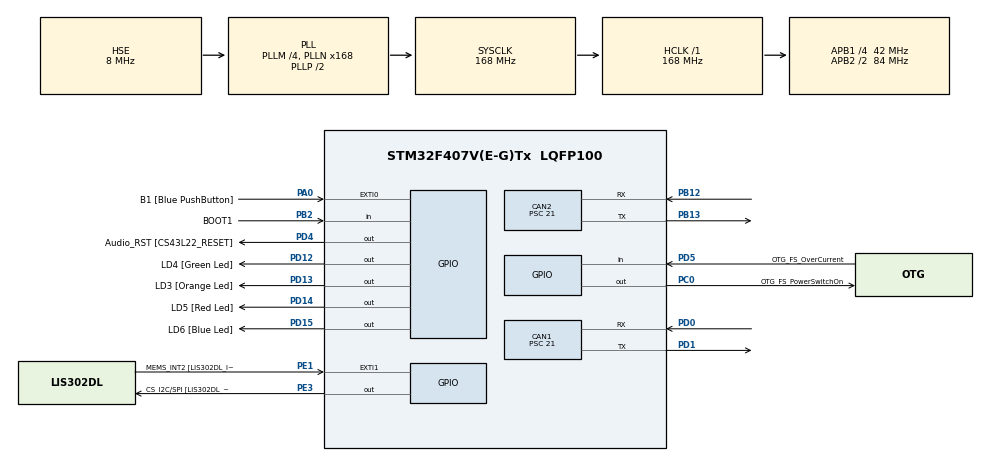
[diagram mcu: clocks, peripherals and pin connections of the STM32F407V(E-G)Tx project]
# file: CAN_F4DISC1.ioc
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CAN1.BS1=CAN_BS1_2TQ
CAN1.CalculateBaudRate=500000
CAN1.CalculateTimeBit=2000
CAN1.CalculateTimeQuantum=500.0
CAN1.Prescaler=21
CAN2.BS1=CAN_BS1_2TQ
CAN2.CalculateBaudRate=500000
CAN2.CalculateTimeBit=2000
CAN2.CalculateTimeQuantum=500.0
CAN2.Prescaler=21
Mcu.Family=STM32F4
Mcu.Name=STM32F407V(E-G)Tx
Mcu.Package=LQFP100
NVIC.CAN1_RX0_IRQn=true\:0\:0\:false\:false\:true\:true\:true\:true
NVIC.CAN2_RX0_IRQn=true\:0\:0\:false\:false\:true\:true\:true\:true
NVIC.PriorityGroup=NVIC_PRIORITYGROUP_0
PA0-WKUP.GPIO_Label=B1 [Blue PushButton]
PA0-WKUP.Signal=GPXTI0
PA10.GPIO_Label=OTG_FS_ID
PA10.GPIO_Mode=GPIO_MODE_AF_PP
PA10.GPIO_PuPd=GPIO_NOPULL
PA10.GPIO_Speed=GPIO_SPEED_FREQ_LOW
PA10.Signal=USB_OTG_FS_ID
PA11.GPIO_Label=OTG_FS_DM
PA11.GPIO_Mode=GPIO_MODE_AF_PP
PA11.GPIO_PuPd=GPIO_NOPULL
PA11.GPIO_Speed=GPIO_SPEED_FREQ_LOW
PA11.Signal=USB_OTG_FS_DM
PA12.GPIO_Label=OTG_FS_DP
PA12.GPIO_Mode=GPIO_MODE_AF_PP
PA12.GPIO_PuPd=GPIO_NOPULL
PA12.GPIO_Speed=GPIO_SPEED_FREQ_LOW
PA12.Signal=USB_OTG_FS_DP
PA13.GPIO_Label=SWDIO
PA13.Signal=SYS_JTMS-SWDIO
PA14.GPIO_Label=SWCLK
PA14.Signal=SYS_JTCK-SWCLK
PA4.GPIO_Label=I2S3_WS [CS43L22_LRCK]
PA4.GPIO_Mode=GPIO_MODE_AF_PP
PA4.GPIO_PuPd=GPIO_NOPULL
PA4.GPIO_Speed=GPIO_SPEED_FREQ_LOW
PA4.Signal=I2S3_WS
PA5.GPIO_Label=SPI1_SCK [LIS302DL_SCL/SPC]
PA5.GPIO_Mode=GPIO_MODE_AF_PP
PA5.GPIO_PuPd=GPIO_NOPULL
PA5.GPIO_Speed=GPIO_SPEED_FREQ_LOW
PA5.Signal=SPI1_SCK
PA6.GPIO_Label=SPI1_MISO [LIS302DL_SDO]
PA6.GPIO_Mode=GPIO_MODE_AF_PP
PA6.GPIO_PuPd=GPIO_NOPULL
PA6.GPIO_Speed=GPIO_SPEED_FREQ_LOW
PA6.Signal=SPI1_MISO
PA7.GPIO_Label=SPI1_MOSI [LIS302DL_SDA/SDI/SDO]
PA7.GPIO_Mode=GPIO_MODE_AF_PP
PA7.GPIO_PuPd=GPIO_NOPULL
PA7.GPIO_Speed=GPIO_SPEED_FREQ_LOW
PA7.Signal=SPI1_MOSI
PA9.GPIO_Label=VBUS_FS
PA9.GPIO_Mode=GPIO_MODE_INPUT
PA9.GPIO_PuPd=GPIO_NOPULL
PA9.Signal=USB_OTG_FS_VBUS
PB10.GPIO_Label=CLK_IN [MP45DT02_CLK]
PB10.GPIO_Mode=GPIO_MODE_AF_PP
PB10.GPIO_PuPd=GPIO_NOPULL
PB10.GPIO_Speed=GPIO_SPEED_FREQ_LOW
PB10.Signal=I2S2_CK
PB12.GPIO_PuPd=GPIO_PULLUP
PB12.Mode=CAN_Activate
PB12.Signal=CAN2_RX
PB13.Mode=CAN_Activate
PB13.Signal=CAN2_TX
PB2.GPIO_Label=BOOT1
PB2.GPIO_Mode=GPIO_MODE_INPUT
PB2.GPIO_PuPd=GPIO_NOPULL
PB2.Signal=GPIO_Input
PB3.GPIO_Label=SWO
PB3.Signal=SYS_JTDO-SWO
PB6.GPIO_Label=Audio_SCL [CS43L22_SCL]
PB6.GPIO_Mode=GPIO_MODE_AF_OD
PB6.GPIO_PuPd=GPIO_NOPULL
PB6.GPIO_Speed=GPIO_SPEED_FREQ_LOW
PB6.Signal=I2C1_SCL
PB9.GPIO_Label=Audio_SDA [CS43L22_SDA]
PB9.GPIO_Mode=GPIO_MODE_AF_OD
PB9.GPIO_PuPd=GPIO_NOPULL
PB9.GPIO_Speed=GPIO_SPEED_FREQ_LOW
PB9.Signal=I2C1_SDA
PC0.GPIO_Label=OTG_FS_PowerSwitchOn
PC0.GPIO_PuPd=GPIO_NOPULL
PC0.GPIO_Speed=GPIO_SPEED_FREQ_LOW
PC0.PinState=GPIO_PIN_SET
PC0.Signal=GPIO_Output
PC10.GPIO_Label=I2S3_SCK [CS43L22_SCLK]
PC10.GPIO_Mode=GPIO_MODE_AF_PP
PC10.GPIO_PuPd=GPIO_NOPULL
PC10.GPIO_Speed=GPIO_SPEED_FREQ_LOW
PC10.Signal=I2S3_CK
PC12.GPIO_Label=I2S3_SD [CS43L22_SDIN]
PC12.GPIO_Mode=GPIO_MODE_AF_PP
PC12.GPIO_PuPd=GPIO_NOPULL
PC12.GPIO_Speed=GPIO_SPEED_FREQ_LOW
PC12.Signal=I2S3_SD
PC14-OSC32_IN.GPIO_Label=PC14-OSC32_IN
PC14-OSC32_IN.Signal=RCC_OSC32_IN
PC15-OSC32_OUT.GPIO_Label=PC15-OSC32_OUT
PC15-OSC32_OUT.Signal=RCC_OSC32_OUT
PC3.GPIO_Label=PDM_OUT [MP45DT02_DOUT]
PC3.GPIO_Mode=GPIO_MODE_AF_PP
PC3.GPIO_PuPd=GPIO_NOPULL
PC3.GPIO_Speed=GPIO_SPEED_FREQ_LOW
PC3.Signal=I2S2_SD
PC7.GPIO_Label=I2S3_MCK [CS43L22_MCLK]
PC7.GPIO_Mode=GPIO_MODE_AF_PP
PC7.GPIO_PuPd=GPIO_NOPULL
PC7.GPIO_Speed=GPIO_SPEED_FREQ_LOW
PC7.Signal=I2S3_MCK
PD0.GPIO_PuPd=GPIO_PULLUP
PD0.Mode=CAN_Activate
PD0.Signal=CAN1_RX
PD1.Mode=CAN_Activate
PD1.Signal=CAN1_TX
PD12.GPIO_Label=LD4 [Green Led]
PD12.GPIO_PuPd=GPIO_NOPULL
PD12.GPIO_Speed=GPIO_SPEED_FREQ_LOW
PD12.Signal=GPIO_Output
PD13.GPIO_Label=LD3 [Orange Led]
PD13.GPIO_PuPd=GPIO_NOPULL
PD13.GPIO_Speed=GPIO_SPEED_FREQ_LOW
PD13.Signal=GPIO_Output
PD14.GPIO_Label=LD5 [Red Led]
PD14.GPIO_PuPd=GPIO_NOPULL
PD14.GPIO_Speed=GPIO_SPEED_FREQ_LOW
PD14.Signal=GPIO_Output
PD15.GPIO_Label=LD6 [Blue Led]
PD15.GPIO_PuPd=GPIO_NOPULL
PD15.GPIO_Speed=GPIO_SPEED_FREQ_LOW
PD15.Signal=GPIO_Output
PD4.GPIO_Label=Audio_RST [CS43L22_RESET]
PD4.GPIO_PuPd=GPIO_NOPULL
PD4.GPIO_Speed=GPIO_SPEED_FREQ_LOW
PD4.Signal=GPIO_Output
PD5.GPIO_Label=OTG_FS_OverCurrent
PD5.GPIO_Mode=GPIO_MODE_INPUT
PD5.GPIO_PuPd=GPIO_NOPULL
PD5.Signal=GPIO_Input
PE1.GPIO_Label=MEMS_INT2 [LIS302DL_INT2]
PE1.GPIO_ModeDefaultEXTI=GPIO_MODE_EVT_RISING
PE1.GPIO_PuPd=GPIO_NOPULL
PE1.Signal=GPXTI1
PE3.GPIO_Label=CS_I2C/SPI [LIS302DL_CS_I2C/SPI]
PE3.GPIO_PuPd=GPIO_NOPULL
PE3.GPIO_Speed=GPIO_SPEED_FREQ_LOW
PE3.Signal=GPIO_Output
PH0-OSC_IN.GPIO_Label=PH0-OSC_IN
PH0-OSC_IN.Mode=HSE-External-Oscillator
PH0-OSC_IN.Signal=RCC_OSC_IN
PH1-OSC_OUT.GPIO_Label=PH1-OSC_OUT
PH1-OSC_OUT.Mode=HSE-External-Oscillator
PH1-OSC_OUT.Signal=RCC_OSC_OUT
ProjectManager.HeapSize=0x200
ProjectManager.StackSize=0x400
ProjectManager.TargetToolchain=STM32CubeIDE
RCC.48MHZClocksFreq_Value=48000000
RCC.AHBFreq_Value=168000000
RCC.APB1CLKDivider=RCC_HCLK_DIV4
RCC.APB1Freq_Value=42000000
RCC.APB1TimFreq_Value=84000000
RCC.APB2CLKDivider=RCC_HCLK_DIV2
RCC.APB2Freq_Value=84000000
RCC.APB2TimFreq_Value=168000000
RCC.CortexFreq_Value=168000000
RCC.HCLKFreq_Value=168000000
RCC.HSE_VALUE=8000000
RCC.HSI_VALUE=16000000
RCC.LSE_VALUE=32768
RCC.PLLM=4
RCC.PLLN=168
RCC.PLLQ=7
RCC.PLLSourceVirtual=RCC_PLLSOURCE_HSE
RCC.SYSCLKFreq_VALUE=168000000
RCC.SYSCLKSource=RCC_SYSCLKSOURCE_PLLCLK
RCC.VCOOutputFreq_Value=336000000
board=STM32F407G-DISC1

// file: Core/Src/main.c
/* USER CODE BEGIN Header */
/**
  ******************************************************************************
  * @file           : main.c
  * @brief          : Main program body
  ******************************************************************************
  * @attention
  *
  * Copyright (c) 2024 STMicroelectronics.
  * All rights reserved.
  *
  * This software is licensed under terms that can be found in the LICENSE file
  * in the root directory of this software component.
  * If no LICENSE file comes with this software, it is provided AS-IS.
  *
  ******************************************************************************
  */
/* USER CODE END Header */
#include "main.h"

CAN_HandleTypeDef hcan1;
CAN_HandleTypeDef hcan2;

void SystemClock_Config(void);
static void MX_GPIO_Init(void);
static void MX_CAN1_Init(void);
static void MX_CAN2_Init(void);
static void CAN1_filterconfig();
static void CAN2_filterconfig();

/* USER CODE BEGIN 0 */
CAN_TxHeaderTypeDef CAN1_TxHeader;
CAN_RxHeaderTypeDef CAN1_RxHeader;
CAN_TxHeaderTypeDef CAN2_TxHeader;
CAN_RxHeaderTypeDef CAN2_RxHeader;

uint8_t CAN1_Tx_data[8];
uint8_t CAN1_Rx_data[8];
uint8_t CAN2_Tx_data[8];
uint8_t CAN2_Rx_data[8];

uint32_t CAN1_TxMailBox;
uint32_t CAN2_TxMailBox;

int datacheck1 = 0;
int datacheck2 = 0;

void HAL_CAN_RxFifo0MsgPendingCallback(CAN_HandleTypeDef *hcan1)
{
	HAL_CAN_GetRxMessage(hcan1, CAN_RX_FIFO0, &CAN1_RxHeader, CAN1_Rx_data);
}

void HAL_CAN_RxFifo1MsgPendingCallback(CAN_HandleTypeDef *hcan2)
{
	HAL_CAN_GetRxMessage(hcan2, CAN_RX_FIFO0, &CAN2_RxHeader, CAN2_Rx_data);
}
/* USER CODE END 0 */

int main(void)
{

  /* MCU Configuration--------------------------------------------------------*/

  /* Reset of all peripherals, Initializes the Flash interface and the Systick. */
  HAL_Init();

  /* Configure the system clock */
  SystemClock_Config();

  /* Initialize all configured peripherals */
  MX_GPIO_Init();
  MX_CAN1_Init();
  MX_CAN2_Init();
  /* USER CODE BEGIN 2 */

  HAL_CAN_Start(&hcan1);
  HAL_CAN_Start(&hcan2);

  //Activate notification

  HAL_CAN_ActivateNotification(&hcan1, CAN_IT_RX_FIFO0_MSG_PENDING);
  HAL_CAN_ActivateNotification(&hcan2, CAN_IT_RX_FIFO0_MSG_PENDING);

  //config ID
  CAN1_TxHeader.DLC = 2;
  CAN1_TxHeader.IDE = CAN_ID_STD;
  CAN1_TxHeader.RTR = CAN_RTR_DATA;
  CAN1_TxHeader.StdId = 0x00;

  CAN2_TxHeader.DLC = 2;
  CAN2_TxHeader.IDE = CAN_ID_STD;
  CAN2_TxHeader.RTR = CAN_RTR_DATA;
  CAN2_TxHeader.StdId = 0x00;

  /* USER CODE END 2 */

  /* Infinite loop */
  while (1)
  {

  }
}
//called in MX_CAN_INIT
void CAN1_filterconfig()
{
	  CAN_FilterTypeDef canfilterconfig1;

	  canfilterconfig1.FilterActivation = CAN_FILTER_ENABLE;
	  canfilterconfig1.FilterBank = 18;  // which filter bank to use from the assigned ones
	  canfilterconfig1.FilterFIFOAssignment = CAN_FILTER_FIFO0;
	  canfilterconfig1.FilterIdHigh = 0x103<<5;
	  canfilterconfig1.FilterIdLow = 0;
	  canfilterconfig1.FilterMaskIdHigh = 0x103<<5;
	  canfilterconfig1.FilterMaskIdLow = 0x0000;
	  canfilterconfig1.FilterMode = CAN_FILTERMODE_IDMASK;
	  canfilterconfig1.FilterScale = CAN_FILTERSCALE_32BIT;
	  canfilterconfig1.SlaveStartFilterBank = 20;  // how many filters to assign to the CAN1 (master can)

	  HAL_CAN_ConfigFilter(&hcan1, &canfilterconfig1);
}

void CAN2_filterconfig()
{
	  CAN_FilterTypeDef canfilterconfig2;

	  canfilterconfig2.FilterActivation = CAN_FILTER_ENABLE;
	  canfilterconfig2.FilterBank = 10;  // which filter bank to use from the assigned ones
	  canfilterconfig2.FilterFIFOAssignment = CAN_FILTER_FIFO0;
	  canfilterconfig2.FilterIdHigh = 0x446<<5;
	  canfilterconfig2.FilterIdLow = 0;
	  canfilterconfig2.FilterMaskIdHigh = 0x446<<5;
	  canfilterconfig2.FilterMaskIdLow = 0x0000;
	  canfilterconfig2.FilterMode = CAN_FILTERMODE_IDMASK;
	  canfilterconfig2.FilterScale = CAN_FILTERSCALE_32BIT;
	  canfilterconfig2.SlaveStartFilterBank = 0;

	  HAL_CAN_ConfigFilter(&hcan2, &canfilterconfig2);
}

void SystemClock_Config(void)
{
  RCC_OscInitTypeDef RCC_OscInitStruct = {0};
  RCC_ClkInitTypeDef RCC_ClkInitStruct = {0};

  /** Configure the main internal regulator output voltage
  */
  __HAL_RCC_PWR_CLK_ENABLE();
  __HAL_PWR_VOLTAGESCALING_CONFIG(PWR_REGULATOR_VOLTAGE_SCALE1);

  /** Initializes the RCC Oscillators according to the specified parameters
  * in the RCC_OscInitTypeDef structure.
  */
  RCC_OscInitStruct.OscillatorType = RCC_OSCILLATORTYPE_HSE;
  RCC_OscInitStruct.HSEState = RCC_HSE_ON;
  RCC_OscInitStruct.PLL.PLLState = RCC_PLL_ON;
  RCC_OscInitStruct.PLL.PLLSource = RCC_PLLSOURCE_HSE;
  RCC_OscInitStruct.PLL.PLLM = 4;
  RCC_OscInitStruct.PLL.PLLN = 168;
  RCC_OscInitStruct.PLL.PLLP = RCC_PLLP_DIV2;
  RCC_OscInitStruct.PLL.PLLQ = 7;
  if (HAL_RCC_OscConfig(&RCC_OscInitStruct) != HAL_OK)
  {
    Error_Handler();
  }

  /** Initializes the CPU, AHB and APB buses clocks
  */
  RCC_ClkInitStruct.ClockType = RCC_CLOCKTYPE_HCLK|RCC_CLOCKTYPE_SYSCLK
                              |RCC_CLOCKTYPE_PCLK1|RCC_CLOCKTYPE_PCLK2;
  RCC_ClkInitStruct.SYSCLKSource = RCC_SYSCLKSOURCE_PLLCLK;
  RCC_ClkInitStruct.AHBCLKDivider = RCC_SYSCLK_DIV1;
  RCC_ClkInitStruct.APB1CLKDivider = RCC_HCLK_DIV4;
  RCC_ClkInitStruct.APB2CLKDivider = RCC_HCLK_DIV2;

  if (HAL_RCC_ClockConfig(&RCC_ClkInitStruct, FLASH_LATENCY_5) != HAL_OK)
  {
    Error_Handler();
  }
}

static void MX_CAN1_Init(void)
{

  hcan1.Instance = CAN1;
  hcan1.Init.Prescaler = 21;
  hcan1.Init.Mode = CAN_MODE_NORMAL;
  hcan1.Init.SyncJumpWidth = CAN_SJW_1TQ;
  hcan1.Init.TimeSeg1 = CAN_BS1_2TQ;
  hcan1.Init.TimeSeg2 = CAN_BS2_1TQ;
  hcan1.Init.TimeTriggeredMode = DISABLE;
  hcan1.Init.AutoBusOff = DISABLE;
  hcan1.Init.AutoWakeUp = DISABLE;
  hcan1.Init.AutoRetransmission = DISABLE;
  hcan1.Init.ReceiveFifoLocked = DISABLE;
  hcan1.Init.TransmitFifoPriority = DISABLE;
  if (HAL_CAN_Init(&hcan1) != HAL_OK)
  {
    Error_Handler();
  }
  /* USER CODE BEGIN CAN1_Init 2 */
  CAN1_filterconfig();
  /* USER CODE END CAN1_Init 2 */

}

static void MX_CAN2_Init(void)
{

  hcan2.Instance = CAN2;
  hcan2.Init.Prescaler = 21;
  hcan2.Init.Mode = CAN_MODE_NORMAL;
  hcan2.Init.SyncJumpWidth = CAN_SJW_1TQ;
  hcan2.Init.TimeSeg1 = CAN_BS1_2TQ;
  hcan2.Init.TimeSeg2 = CAN_BS2_1TQ;
  hcan2.Init.TimeTriggeredMode = DISABLE;
  hcan2.Init.AutoBusOff = DISABLE;
  hcan2.Init.AutoWakeUp = DISABLE;
  hcan2.Init.AutoRetransmission = DISABLE;
  hcan2.Init.ReceiveFifoLocked = DISABLE;
  hcan2.Init.TransmitFifoPriority = DISABLE;
  if (HAL_CAN_Init(&hcan2) != HAL_OK)
  {
    Error_Handler();
  }
  /* USER CODE BEGIN CAN2_Init 2 */
  CAN2_filterconfig;
  /* USER CODE END CAN2_Init 2 */

}

static void MX_GPIO_Init(void)
{
  GPIO_InitTypeDef GPIO_InitStruct = {0};

  /* GPIO Ports Clock Enable */
  __HAL_RCC_GPIOE_CLK_ENABLE();
  __HAL_RCC_GPIOC_CLK_ENABLE();
  __HAL_RCC_GPIOH_CLK_ENABLE();
  __HAL_RCC_GPIOA_CLK_ENABLE();
  __HAL_RCC_GPIOB_CLK_ENABLE();
  __HAL_RCC_GPIOD_CLK_ENABLE();

  /*Configure GPIO pin Output Level */
  HAL_GPIO_WritePin(CS_I2C_SPI_GPIO_Port, CS_I2C_SPI_Pin, GPIO_PIN_RESET);

  /*Configure GPIO pin Output Level */
  HAL_GPIO_WritePin(OTG_FS_PowerSwitchOn_GPIO_Port, OTG_FS_PowerSwitchOn_Pin, GPIO_PIN_SET);

  /*Configure GPIO pin Output Level */
  HAL_GPIO_WritePin(GPIOD, LD4_Pin|LD3_Pin|LD5_Pin|LD6_Pin
                          |Audio_RST_Pin, GPIO_PIN_RESET);

  /*Configure GPIO pin : CS_I2C_SPI_Pin */
  GPIO_InitStruct.Pin = CS_I2C_SPI_Pin;
  GPIO_InitStruct.Mode = GPIO_MODE_OUTPUT_PP;
  GPIO_InitStruct.Pull = GPIO_NOPULL;
  GPIO_InitStruct.Speed = GPIO_SPEED_FREQ_LOW;
  HAL_GPIO_Init(CS_I2C_SPI_GPIO_Port, &GPIO_InitStruct);

  /*Configure GPIO pin : OTG_FS_PowerSwitchOn_Pin */
  GPIO_InitStruct.Pin = OTG_FS_PowerSwitchOn_Pin;
  GPIO_InitStruct.Mode = GPIO_MODE_OUTPUT_PP;
  GPIO_InitStruct.Pull = GPIO_NOPULL;
  GPIO_InitStruct.Speed = GPIO_SPEED_FREQ_LOW;
  HAL_GPIO_Init(OTG_FS_PowerSwitchOn_GPIO_Port, &GPIO_InitStruct);

  /*Configure GPIO pin : PDM_OUT_Pin */
  GPIO_InitStruct.Pin = PDM_OUT_Pin;
  GPIO_InitStruct.Mode = GPIO_MODE_AF_PP;
  GPIO_InitStruct.Pull = GPIO_NOPULL;
  GPIO_InitStruct.Speed = GPIO_SPEED_FREQ_LOW;
  GPIO_InitStruct.Alternate = GPIO_AF5_SPI2;
  HAL_GPIO_Init(PDM_OUT_GPIO_Port, &GPIO_InitStruct);

  /*Configure GPIO pin : B1_Pin */
  GPIO_InitStruct.Pin = B1_Pin;
  GPIO_InitStruct.Mode = GPIO_MODE_IT_RISING;
  GPIO_InitStruct.Pull = GPIO_NOPULL;
  HAL_GPIO_Init(B1_GPIO_Port, &GPIO_InitStruct);

  /*Configure GPIO pin : I2S3_WS_Pin */
  GPIO_InitStruct.Pin = I2S3_WS_Pin;
  GPIO_InitStruct.Mode = GPIO_MODE_AF_PP;
  GPIO_InitStruct.Pull = GPIO_NOPULL;
  GPIO_InitStruct.Speed = GPIO_SPEED_FREQ_LOW;
  GPIO_InitStruct.Alternate = GPIO_AF6_SPI3;
  HAL_GPIO_Init(I2S3_WS_GPIO_Port, &GPIO_InitStruct);

  /*Configure GPIO pins : SPI1_SCK_Pin SPI1_MISO_Pin SPI1_MOSI_Pin */
  GPIO_InitStruct.Pin = SPI1_SCK_Pin|SPI1_MISO_Pin|SPI1_MOSI_Pin;
  GPIO_InitStruct.Mode = GPIO_MODE_AF_PP;
  GPIO_InitStruct.Pull = GPIO_NOPULL;
  GPIO_InitStruct.Speed = GPIO_SPEED_FREQ_LOW;
  GPIO_InitStruct.Alternate = GPIO_AF5_SPI1;
  HAL_GPIO_Init(GPIOA, &GPIO_InitStruct);

  /*Configure GPIO pin : BOOT1_Pin */
  GPIO_InitStruct.Pin = BOOT1_Pin;
  GPIO_InitStruct.Mode = GPIO_MODE_INPUT;
  GPIO_InitStruct.Pull = GPIO_NOPULL;
  HAL_GPIO_Init(BOOT1_GPIO_Port, &GPIO_InitStruct);

  /*Configure GPIO pin : CLK_IN_Pin */
  GPIO_InitStruct.Pin = CLK_IN_Pin;
  GPIO_InitStruct.Mode = GPIO_MODE_AF_PP;
  GPIO_InitStruct.Pull = GPIO_NOPULL;
  GPIO_InitStruct.Speed = GPIO_SPEED_FREQ_LOW;
  GPIO_InitStruct.Alternate = GPIO_AF5_SPI2;
  HAL_GPIO_Init(CLK_IN_GPIO_Port, &GPIO_InitStruct);

  /*Configure GPIO pins : LD4_Pin LD3_Pin LD5_Pin LD6_Pin
                           Audio_RST_Pin */
  GPIO_InitStruct.Pin = LD4_Pin|LD3_Pin|LD5_Pin|LD6_Pin
                          |Audio_RST_Pin;
  GPIO_InitStruct.Mode = GPIO_MODE_OUTPUT_PP;
  GPIO_InitStruct.Pull = GPIO_NOPULL;
  GPIO_InitStruct.Speed = GPIO_SPEED_FREQ_LOW;
  HAL_GPIO_Init(GPIOD, &GPIO_InitStruct);

  /*Configure GPIO pins : I2S3_MCK_Pin I2S3_SCK_Pin I2S3_SD_Pin */
  GPIO_InitStruct.Pin = I2S3_MCK_Pin|I2S3_SCK_Pin|I2S3_SD_Pin;
  GPIO_InitStruct.Mode = GPIO_MODE_AF_PP;
  GPIO_InitStruct.Pull = GPIO_NOPULL;
  GPIO_InitStruct.Speed = GPIO_SPEED_FREQ_LOW;
  GPIO_InitStruct.Alternate = GPIO_AF6_SPI3;
  HAL_GPIO_Init(GPIOC, &GPIO_InitStruct);

  /*Configure GPIO pin : VBUS_FS_Pin */
  GPIO_InitStruct.Pin = VBUS_FS_Pin;
  GPIO_InitStruct.Mode = GPIO_MODE_INPUT;
  GPIO_InitStruct.Pull = GPIO_NOPULL;
  HAL_GPIO_Init(VBUS_FS_GPIO_Port, &GPIO_InitStruct);

  /*Configure GPIO pins : OTG_FS_ID_Pin OTG_FS_DM_Pin OTG_FS_DP_Pin */
  GPIO_InitStruct.Pin = OTG_FS_ID_Pin|OTG_FS_DM_Pin|OTG_FS_DP_Pin;
  GPIO_InitStruct.Mode = GPIO_MODE_AF_PP;
  GPIO_InitStruct.Pull = GPIO_NOPULL;
  GPIO_InitStruct.Speed = GPIO_SPEED_FREQ_LOW;
  GPIO_InitStruct.Alternate = GPIO_AF10_OTG_FS;
  HAL_GPIO_Init(GPIOA, &GPIO_InitStruct);

  /*Configure GPIO pin : OTG_FS_OverCurrent_Pin */
  GPIO_InitStruct.Pin = OTG_FS_OverCurrent_Pin;
  GPIO_InitStruct.Mode = GPIO_MODE_INPUT;
  GPIO_InitStruct.Pull = GPIO_NOPULL;
  HAL_GPIO_Init(OTG_FS_OverCurrent_GPIO_Port, &GPIO_InitStruct);

  /*Configure GPIO pins : Audio_SCL_Pin Audio_SDA_Pin */
  GPIO_InitStruct.Pin = Audio_SCL_Pin|Audio_SDA_Pin;
  GPIO_InitStruct.Mode = GPIO_MODE_AF_OD;
  GPIO_InitStruct.Pull = GPIO_NOPULL;
  GPIO_InitStruct.Speed = GPIO_SPEED_FREQ_LOW;
  GPIO_InitStruct.Alternate = GPIO_AF4_I2C1;
  HAL_GPIO_Init(GPIOB, &GPIO_InitStruct);

  /*Configure GPIO pin : MEMS_INT2_Pin */
  GPIO_InitStruct.Pin = MEMS_INT2_Pin;
  GPIO_InitStruct.Mode = GPIO_MODE_EVT_RISING;
  GPIO_InitStruct.Pull = GPIO_NOPULL;
  HAL_GPIO_Init(MEMS_INT2_GPIO_Port, &GPIO_InitStruct);

}

void Error_Handler(void)
{
  __disable_irq();
  while (1)
  {
  }
}
